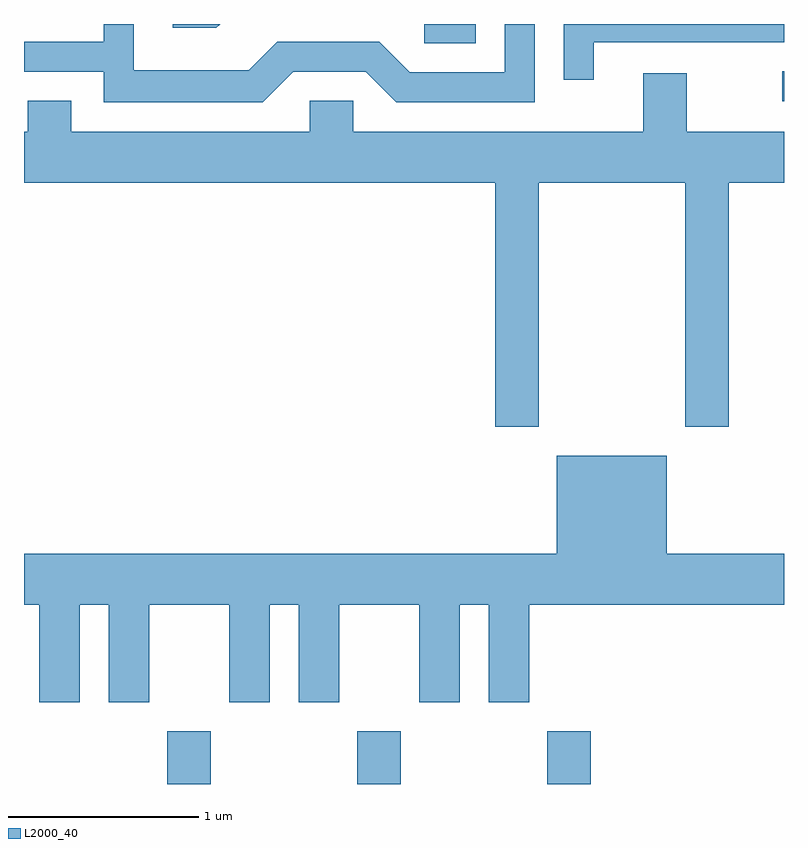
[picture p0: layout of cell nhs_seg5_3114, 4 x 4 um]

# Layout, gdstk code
import gdstk
lib = gdstk.Library(unit=1e-6, precision=1e-09)
def R(c, l, rs):  # rectangles x0, y0, x1, y1
    for r in rs: c.add(gdstk.rectangle(r[:2], r[2:], *l))
def A(c, l, x, y, w, h, nx, ny, dx, dy):  # array of equal rectangles
    R(c, l, [(x+i*dx, y+j*dy, x+i*dx+w, y+j*dy+h) for i in range(nx) for j in range(ny)])
def P(c, l, *ps):  # polygons
    for p in ps: c.add(gdstk.Polygon(p, *l))
L2000_40 = (2000, 40)

nhs_seg5_3114 = lib.new_cell('nhs_seg5_3114')
A(nhs_seg5_3114, L2000_40, 278.366, 1458.072, 0.228, 0.277, 3, 1, 1, 0)
R(nhs_seg5_3114, L2000_40, [(281.603,1461.666,281.611,1461.824), (279.718,1461.971,279.989,1462.072)])
P(nhs_seg5_3114, L2000_40, [(279.027,1461.821),(279.409,1461.821),(279.569,1461.661),(280.299,1461.661),(280.299,1462.072),(280.141,1462.072),(280.141,1461.819),(279.642,1461.819),(279.482,1461.979),(278.944,1461.979),(278.794,1461.829),(278.189,1461.829),(278.189,1462.072),(278.031,1462.072),(278.031,1461.979),(277.611,1461.979),(277.611,1461.821),(278.031,1461.821),(278.031,1461.661),(278.867,1461.661)],
  [(280.609,1461.976),(281.611,1461.976),(281.611,1462.072),(280.451,1462.072),(280.451,1461.778),(280.609,1461.778)],
  [(278.643,1462.072),(278.393,1462.072),(278.393,1462.051),(278.622,1462.051)],
  [(280.319,1461.236),(281.091,1461.236),(281.091,1459.951),(281.319,1459.951),(281.319,1461.236),(281.611,1461.236),(281.611,1461.504),(281.099,1461.504),(281.099,1461.814),(280.871,1461.814),(280.871,1461.504),(279.344,1461.504),(279.344,1461.669),(279.116,1461.669),(279.116,1461.504),(277.859,1461.504),(277.859,1461.669),(277.631,1461.669),(277.631,1461.504),(277.611,1461.504),(277.611,1461.236),(280.091,1461.236),(280.091,1459.951),(280.319,1459.951)],
  [(277.904,1459.016),(278.056,1459.016),(278.056,1458.501),(278.269,1458.501),(278.269,1459.016),(278.691,1459.016),(278.691,1458.501),(278.904,1458.501),(278.904,1459.016),(279.056,1459.016),(279.056,1458.501),(279.269,1458.501),(279.269,1459.016),(279.691,1459.016),(279.691,1458.501),(279.904,1458.501),(279.904,1459.016),(280.056,1459.016),(280.056,1458.501),(280.269,1458.501),(280.269,1459.016),(281.611,1459.016),(281.611,1459.284),(280.994,1459.284),(280.994,1459.799),(280.416,1459.799),(280.416,1459.284),(277.611,1459.284),(277.611,1459.016),(277.691,1459.016),(277.691,1458.501),(277.904,1458.501)])

lib.write_gds('nhs_seg5_3114.gds')
